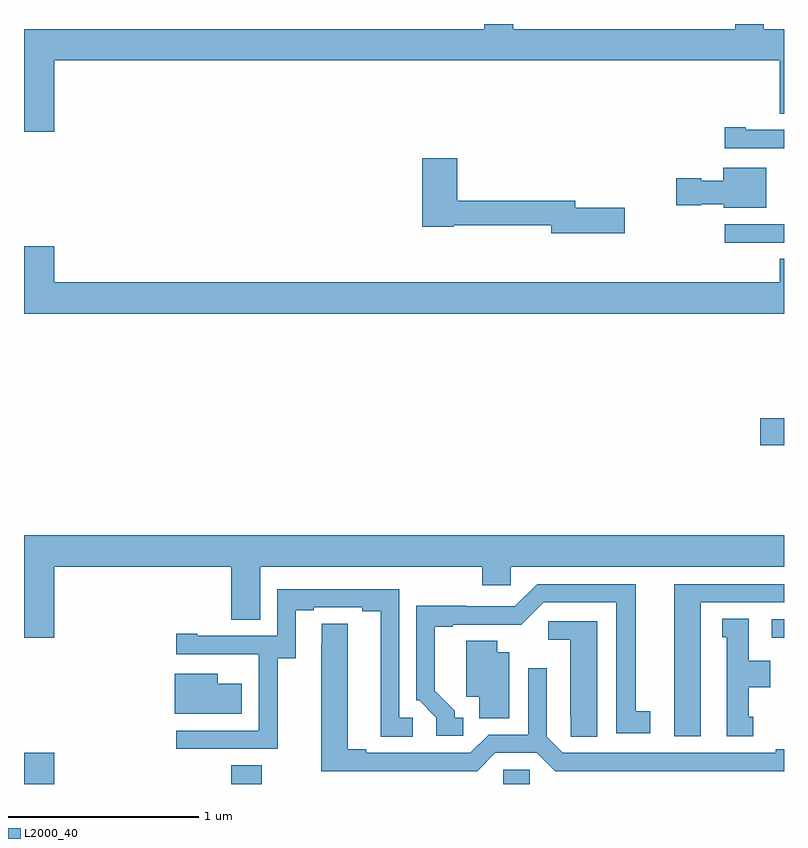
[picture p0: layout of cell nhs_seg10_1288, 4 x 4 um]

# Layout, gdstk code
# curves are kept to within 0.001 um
import gdstk
lib = gdstk.Library(unit=1e-6, precision=1e-09)
def R(c, l, rs):  # rectangles x0, y0, x1, y1
    for r in rs: c.add(gdstk.rectangle(r[:2], r[2:], *l))
def P(c, l, *ps):  # polygons
    for p in ps: c.add(gdstk.Polygon(p, *l))
L2000_40 = (2000, 40)

nhs_seg10_1288 = lib.new_cell('nhs_seg10_1288')
R(nhs_seg10_1288, L2000_40, [(177,1304.5,177.16,1304.665), (178.091,1304.5,178.251,1304.6), (179.523,1304.5,179.661,1304.574), (180.936,1305.27,181,1305.366), (180.876,1306.282,181,1306.424), (180.687,1307.349,181,1307.445)])
P(nhs_seg10_1288, L2000_40, [(177.16,1308.308),(180.977,1308.308),(180.977,1308.028),(181,1308.028),(181,1308.472),(180.894,1308.472),(180.894,1308.5),(180.743,1308.5),(180.743,1308.472),(179.575,1308.472),(179.575,1308.5),(179.423,1308.5),(179.423,1308.472),(177,1308.472),(177,1307.934),(177.16,1307.934)],
  [(181,1307.943),(180.799,1307.943),(180.799,1307.956),(180.687,1307.956),(180.687,1307.847),(181,1307.847)],
  [(180.163,1307.534),(179.902,1307.534),(179.902,1307.57),(179.279,1307.57),(179.279,1307.794),(179.096,1307.794),(179.096,1307.434),(179.262,1307.434),(179.262,1307.442),(179.774,1307.442),(179.774,1307.399),(180.163,1307.399)],
  [(180.907,1307.743),(180.68,1307.743),(180.68,1307.674),(180.564,1307.674),(180.564,1307.687),(180.432,1307.687),(180.432,1307.545),(180.564,1307.545),(180.564,1307.552),(180.684,1307.552),(180.684,1307.534),(180.907,1307.534)],
  [(181,1307.264),(180.977,1307.264),(180.977,1307.14),(177.16,1307.14),(177.16,1307.329),(177,1307.329),(177,1306.976),(181,1306.976)],
  [(177.16,1305.644),(178.091,1305.644),(178.091,1305.364),(178.243,1305.364),(178.243,1305.644),(179.411,1305.644),(179.411,1305.546),(179.562,1305.546),(179.562,1305.644),(181,1305.644),(181,1305.808),(177,1305.808),(177,1305.27),(177.16,1305.27)],
  [(180.562,1305.456),(181,1305.456),(181,1305.552),(180.422,1305.552),(180.422,1304.751),(180.562,1304.751)],
  [(179.311,1304.85),(179.266,1304.85),(179.266,1304.885),(179.161,1304.99),(179.161,1305.327),(179.257,1305.327),(179.257,1305.339),(179.618,1305.338),(179.736,1305.456),(180.116,1305.456),(180.116,1304.766),(180.295,1304.766),(180.295,1304.882),(180.22,1304.882),(180.22,1305.552),(179.7,1305.552),(179.583,1305.435),(179.327,1305.435),(179.327,1305.437),(179.064,1305.437),(179.064,1304.94),(179.079,1304.94),(179.169,1304.85),(179.169,1304.754),(179.311,1304.754)],
  [(178.335,1305.163),(178.429,1305.163),(178.429,1305.414),(178.525,1305.414),(178.525,1305.429),(178.781,1305.429),(178.781,1305.409),(178.877,1305.409),(178.877,1304.749),(179.047,1304.749),(179.047,1304.85),(178.974,1304.85),(178.974,1305.525),(178.332,1305.525),(178.332,1305.279),(177.913,1305.279),(177.913,1305.292),(177.801,1305.292),(177.801,1305.183),(178.235,1305.183),(178.235,1305.182),(178.236,1305.182),(178.236,1304.781),(177.801,1304.781),(177.801,1304.685),(178.335,1304.685)],
  [(180.838,1304.853),(180.814,1304.853),(180.814,1305.008),(180.928,1305.008),(180.928,1305.148),(180.814,1305.148),(180.814,1305.371),(180.674,1305.371),(180.674,1305.273),(180.698,1305.273),(180.698,1304.751),(180.838,1304.751)],
  [(180.016,1305.357),(179.76,1305.357),(179.76,1305.26),(179.876,1305.26),(179.876,1304.857),(179.877,1304.857),(179.877,1304.749),(180.016,1304.749)],
  [(179.481,1304.664),(179.699,1304.664),(179.795,1304.568),(181,1304.568),(181,1304.684),(180.956,1304.684),(180.956,1304.664),(179.835,1304.664),(179.751,1304.748),(179.751,1305.109),(179.655,1305.109),(179.655,1304.76),(179.445,1304.76),(179.349,1304.664),(178.801,1304.664),(178.801,1304.684),(178.705,1304.684),(178.705,1305.344),(178.566,1305.344),(178.565,1304.568),(179.385,1304.568)],
  [(179.554,1305.193),(179.491,1305.193),(179.491,1305.254),(179.327,1305.254),(179.327,1304.96),(179.396,1304.96),(179.396,1304.845),(179.554,1304.845)],
  [(178.147,1305.028),(178.021,1305.028),(178.021,1305.079),(177.794,1305.079),(177.794,1304.87),(178.147,1304.87)])

lib.write_gds('nhs_seg10_1288.gds')
